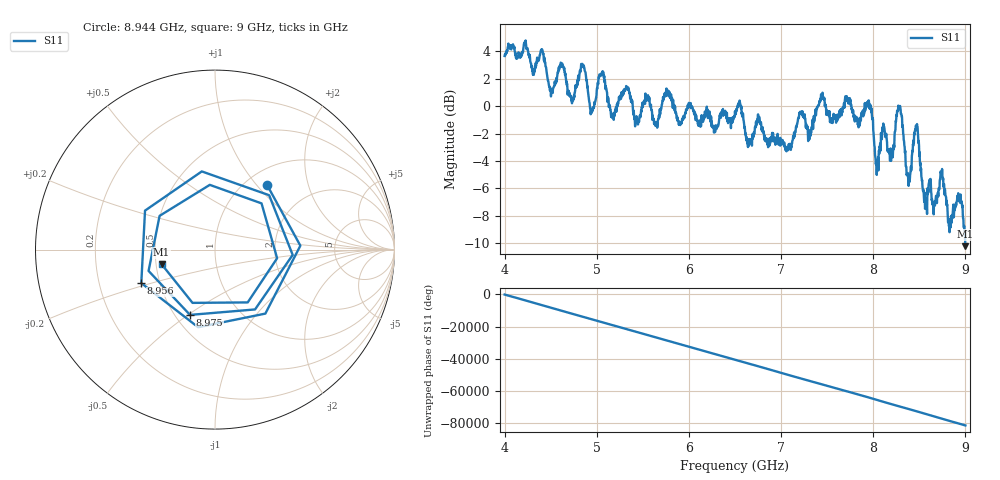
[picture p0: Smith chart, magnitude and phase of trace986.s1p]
! Created with skrf 1.8.0 (http://scikit-rf.org).
# Hz S RI R 50.0
!freq ReS11 ImS11
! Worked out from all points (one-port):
!   1601 points, 4 GHz to 9 GHz, reference 50 ohm
!   lowest |S11| = -10.2 dB at 9 GHz (marker M1), VSWR 1.89, Z = 26.8 - j4.84 ohm
!   |S11| at or under -10 dB: 8.998276 GHz to end of sweep
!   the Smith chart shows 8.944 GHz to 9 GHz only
!   S11 on the Smith chart (normalised r, x): 8.944 GHz: 1.25, +1.14; 8.956 GHz: 0.39, -0.18; 8.975 GHz: 0.59, -0.51; 9 GHz: 0.54, -0.10
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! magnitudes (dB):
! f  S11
! 4 GHz  3.7
! 4.406 GHz  4.1
! 4.509 GHz  1.0
! 4.625 GHz  3.1
! 4.725 GHz  0.4
! 4.844 GHz  3.1
! 4.944 GHz  -0.5
! 5.05 GHz  2.3
! 5.169 GHz  -0.7
! 5.25 GHz  0.5
! 5.875 GHz  -1.1
! 6.5 GHz  -0.4
! 7.125 GHz  -2.5
! 7.444 GHz  0.6
! 7.75 GHz  0.3
! 7.956 GHz  0.0
! 8.041 GHz  -4.5
! 8.109 GHz  -1.3
! 8.203 GHz  -3.1
! 8.288 GHz  -0.1
! 8.375 GHz  -4.9
! 8.469 GHz  -1.6
! 8.559 GHz  -6.3
! 8.834 GHz  -8.7
! 8.944 GHz  -6.7
! 8.956 GHz  -6.9
! 8.975 GHz  -8.2
! 9 GHz  -10.2
